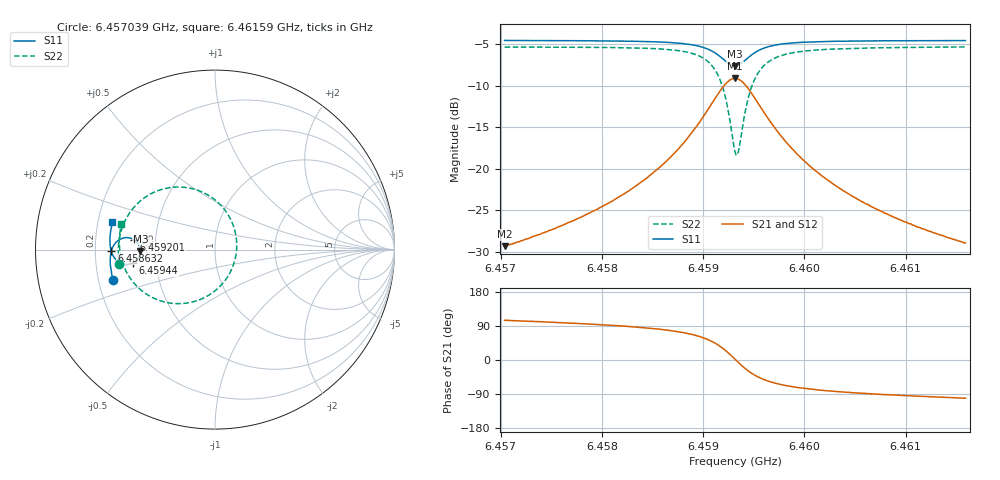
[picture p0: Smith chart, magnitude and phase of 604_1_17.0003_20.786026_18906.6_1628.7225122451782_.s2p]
#  HZ  S  RI  R  50.00
! Rohde & Schwarz Vector Network Analyzer
! Rohde-Schwarz,ZNB20-2Port,1311601062101988,3.16
! Created: UTC 3/20/2024, 11:19:08 PM
! freq[Hz]  re:S11  im:S11  re:S21  im:S21  re:S12  im:S12  re:S22  im:S22
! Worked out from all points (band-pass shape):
!   401 points, 6.457039 GHz to 6.46159 GHz, reference 50 ohm
!   highest |S21| = -9.12 dB at 6.459315 GHz (marker M1); lowest = -29.3 dB at 6.457039 GHz (marker M2)
!   |S21| within 3 dB of the highest: 6.459087 GHz to 6.459543 GHz (455.4 kHz wide, 0.00705 % of centre)
!   lowest |S11| = -7.6 dB at 6.459315 GHz (marker M3), VSWR 2.43, Z = 20.6 - j0.41 ohm
!   |S11| at or under -10 dB: nowhere
!   |S22| runs from -18.4 to -5.3 dB; largest |S21 - S12| = 0.014
!   S11 on the Smith chart (normalised r, x): 6.457039 GHz: 0.26, -0.13; 6.458632 GHz: 0.27, -0.01; 6.459201 GHz: 0.38, +0.05; 6.45944 GHz: 0.37, -0.07; 6.46159 GHz: 0.26, +0.12
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6.4570394e9  -0.5681 -0.1675  -0.00878 0.0329  -0.00698 0.0328  -0.5343 -0.0791
6.4578017e9  -0.5814 -0.1004  -0.00532 0.051  -0.0026 0.0504  -0.5386 0.0109
6.4582454e9  -0.5839 -0.0555  0.00143 0.0722  0.0047 0.0706  -0.5287 0.0828
6.4585639e9  -0.5799 -0.0169  0.015 0.0998  0.019 0.0971  -0.5035 0.1566
6.4586322e9  -0.5775 -0.00753  0.0204 0.1082  0.0246 0.105  -0.4931 0.1766
6.4588256e9  -0.5646 0.0229  0.0473 0.1393  0.0516 0.1344  -0.4423 0.2461
6.4589735e9  -0.5415 0.0492  0.0935 0.17  0.0966 0.1633  -0.3574 0.3107
6.45911e9  -0.4971 0.0665  0.1817 0.1863  0.1824 0.1789  -0.196 0.3487
6.4592011e9  -0.4523 0.0561  0.2725 0.1544  0.2727 0.1485  -0.0275 0.2969
6.4592693e9  -0.4229 0.0234  0.3335 0.0815  0.3357 0.076  0.0891 0.1649
6.4593148e9  -0.4161 -0.00822  0.3497 0.0125  0.3537 0.00553  0.1212 0.0356
6.459349e9  -0.42 -0.0321  0.3437 -0.0406  0.3477 -0.0499  0.1091 -0.065
6.4593945e9  -0.436 -0.0585  0.3146 -0.1012  0.3168 -0.1133  0.0499 -0.1799
6.45944e9  -0.4583 -0.075  0.2717 -0.1426  0.2709 -0.1561  -0.0371 -0.2556
6.459531e9  -0.5022 -0.0818  0.1856 -0.1735  0.1793 -0.1854  -0.2088 -0.3012
6.4595993e9  -0.5268 -0.0746  0.1366 -0.1715  0.1284 -0.1805  -0.3036 -0.2855
6.4596789e9  -0.5465 -0.0612  0.0967 -0.159  0.088 -0.1653  -0.3787 -0.2501
6.4598382e9  -0.5682 -0.0335  0.0514 -0.1305  0.0436 -0.1334  -0.4597 -0.1764
6.4600771e9  -0.581 0.00223  0.0221 -0.0985  0.0162 -0.0991  -0.5078 -0.093
6.460407e9  -0.5855 0.0418  0.00638 -0.072  0.00216 -0.0714  -0.5288 -0.0155
6.4608394e9  -0.5836 0.0855  -0.00166 -0.0524  -0.00458 -0.0515  -0.5332 0.0552
6.4615902e9  -0.5714 0.1522  -0.00671 -0.035  -0.00846 -0.0339  -0.5215 0.1445
